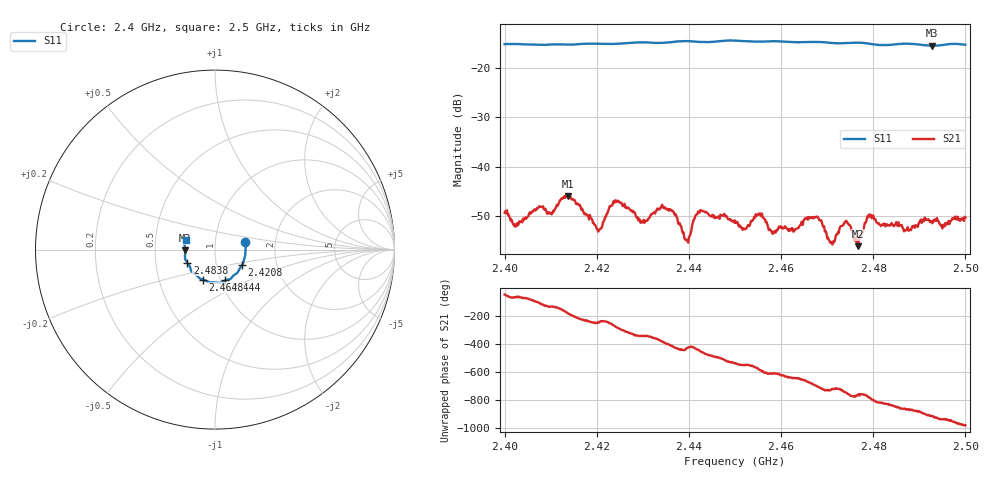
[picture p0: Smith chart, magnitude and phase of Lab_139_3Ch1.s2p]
# Hz S RI R 50
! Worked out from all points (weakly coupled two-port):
!   601 points, 2.4 GHz to 2.5 GHz, reference 50 ohm
!   highest |S21| = -45.89 dB at 2.4138 GHz (marker M1); lowest = -56.0 dB at 2.4767 GHz (marker M2)
!   lowest |S11| = -15.6 dB at 2.4928 GHz (marker M3), VSWR 1.40, Z = 35.8 - j0.335 ohm
!   |S11| at or under -10 dB: start of sweep to end of sweep
!   S12 and S22 are empty: the file has one direction only
!   S11 on the Smith chart (normalised r, x): 2.4 GHz: 1.40, +0.12; 2.4208 GHz: 1.33, -0.24; 2.444 GHz: 1.06, -0.37; 2.4648 GHz: 0.83, -0.29; 2.4838 GHz: 0.73, -0.11; 2.5 GHz: 0.72, +0.08
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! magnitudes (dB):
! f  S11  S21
! 2.4 GHz  -15.3  -49.3
! 2.4025 GHz  -15.2  -52.0
! 2.4138 GHz  -15.4  -45.9
! 2.4167 GHz  -15.2  -48.6
! 2.4208 GHz  -15.2  -52.5
! 2.4242 GHz  -15.2  -47.1
! 2.4298 GHz  -14.9  -51.2
! 2.4333 GHz  -15.0  -48.5
! 2.4367 GHz  -14.8  -49.1
! 2.4395 GHz  -14.7  -54.8
! 2.444 GHz  -14.9  -49.3
! 2.45 GHz  -14.6  -50.8
! 2.4648 GHz  -14.9  -51.0
! 2.4667 GHz  -14.8  -50.2
! 2.4708 GHz  -15.0  -55.2
! 2.4742 GHz  -15.0  -50.9
! 2.4767 GHz  -15.0  -56.0
! 2.4792 GHz  -15.2  -49.6
! 2.4833 GHz  -15.4  -51.8
! 2.4838 GHz  -15.4  -51.5
! 2.4928 GHz  -15.6  -51.4
! 2.5 GHz  -15.4  -50.2
